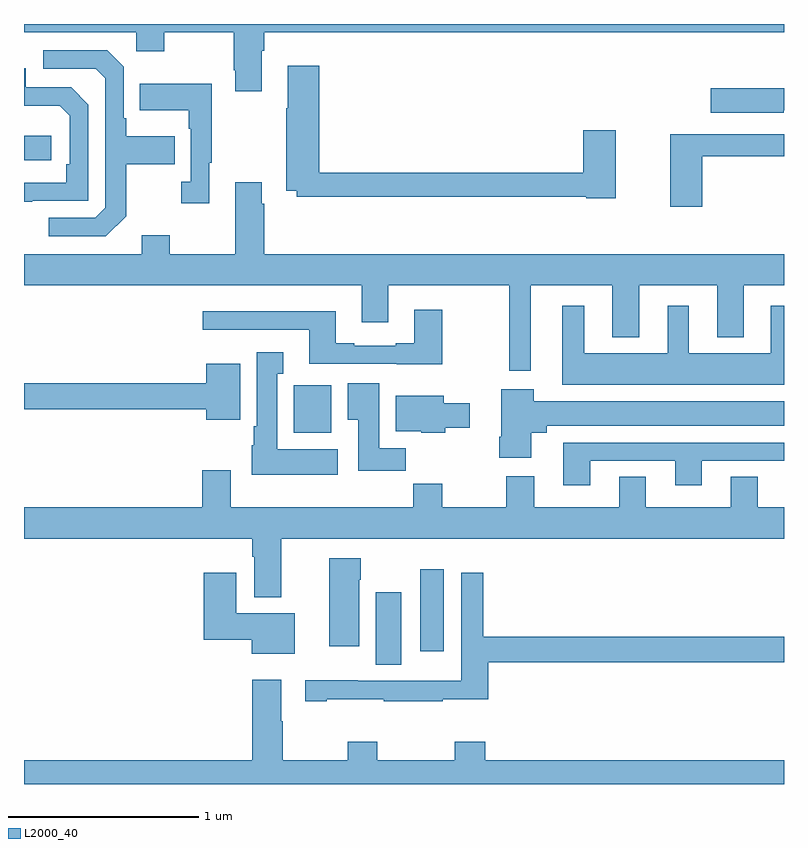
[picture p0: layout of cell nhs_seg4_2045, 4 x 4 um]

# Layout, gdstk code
import gdstk
lib = gdstk.Library(unit=1e-6, precision=1e-09)
def R(c, l, rs):  # rectangles x0, y0, x1, y1
    for r in rs: c.add(gdstk.rectangle(r[:2], r[2:], *l))
def P(c, l, *ps):  # polygons
    for p in ps: c.add(gdstk.Polygon(p, *l))
L2000_40 = (2000, 40)

nhs_seg4_2045 = lib.new_cell('nhs_seg4_2045')
R(nhs_seg4_2045, L2000_40, [(218.852,757.528,218.986,757.909), (219.086,757.599,219.208,758.029), (218.421,758.75,218.617,759), (217,760.182,217.144,760.312)])
P(nhs_seg4_2045, L2000_40, [(218.251,760.76),(218.264,760.76),(218.264,760.856),(221,760.856),(221,760.9),(217,760.9),(217,760.856),(217.59,760.856),(217.59,760.757),(217.737,760.757),(217.737,760.856),(218.104,760.856),(218.104,760.657),(218.111,760.657),(218.111,760.545),(218.251,760.545)],
  [(217.537,759.889),(217.537,760.162),(217.793,760.162),(217.793,760.309),(217.537,760.309),(217.537,760.405),(217.524,760.405),(217.524,760.674),(217.437,760.761),(217.101,760.761),(217.101,760.665),(217.377,760.665),(217.428,760.614),(217.428,759.933),(217.374,759.879),(217.131,759.879),(217.131,759.783),(217.431,759.783)],
  [(220.114,760.342),(219.944,760.342),(219.944,760.118),(218.555,760.118),(218.555,760.681),(218.387,760.681),(218.387,760.457),(218.38,760.457),(218.38,760.022),(218.436,760.022),(218.436,759.99),(219.96,759.99),(219.96,759.982),(220.114,759.982)],
  [(217.043,759.969),(217.338,759.969),(217.338,760.476),(217.248,760.566),(217.008,760.566),(217.008,760.668),(217,760.668),(217,760.469),(217.189,760.469),(217.242,760.416),(217.242,760.162),(217.222,760.162),(217.222,760.065),(217,760.065),(217,759.964),(217.043,759.964)],
  [(217.975,760.169),(217.987,760.169),(217.987,760.585),(217.609,760.585),(217.609,760.445),(217.866,760.445),(217.866,760.349),(217.878,760.349),(217.878,760.07),(217.827,760.07),(217.827,759.957),(217.975,759.957)],
  [(220.998,760.446),(221,760.446),(221,760.563),(220.614,760.563),(220.614,760.433),(220.998,760.433)],
  [(220.571,760.204),(221,760.204),(221,760.32),(220.4,760.32),(220.4,759.939),(220.571,759.939)],
  [(218.264,759.953),(218.251,759.953),(218.251,760.066),(218.111,760.066),(218.111,759.688),(217.767,759.688),(217.767,759.787),(217.619,759.787),(217.619,759.688),(217,759.688),(217,759.524),(218.777,759.524),(218.777,759.33),(218.917,759.33),(218.917,759.524),(219.553,759.524),(219.553,759.075),(219.667,759.075),(219.667,759.524),(220.097,759.524),(220.097,759.251),(220.237,759.251),(220.237,759.524),(220.649,759.524),(220.649,759.251),(220.789,759.251),(220.789,759.524),(221,759.524),(221,759.688),(218.264,759.688)],
  [(221,759.418),(220.931,759.418),(220.931,759.166),(220.498,759.166),(220.498,759.418),(220.388,759.418),(220.388,759.166),(219.949,759.166),(219.949,759.418),(219.833,759.418),(219.833,759.002),(221,759.002)],
  [(219.201,759.397),(219.053,759.397),(219.053,759.22),(218.957,759.22),(218.957,759.207),(218.737,759.207),(218.737,759.22),(218.641,759.22),(218.641,759.388),(217.941,759.388),(217.941,759.291),(218.501,759.291),(218.501,759.111),(218.961,759.111),(218.961,759.11),(219.201,759.11)],
  [(218.65,758.662),(218.332,758.662),(218.332,759.059),(218.365,759.059),(218.365,759.172),(218.225,759.172),(218.225,758.782),(218.21,758.782),(218.21,758.682),(218.198,758.682),(218.198,758.528),(218.65,758.528)],
  [(218.137,759.112),(217.958,759.112),(217.958,759.008),(217,759.008),(217,758.872),(217.958,758.872),(217.958,758.816),(218.137,758.816)],
  [(219.008,758.668),(218.869,758.668),(218.869,759.01),(218.705,759.01),(218.705,758.816),(218.759,758.816),(218.759,758.55),(219.008,758.55)],
  [(219.67,758.75),(219.751,758.75),(219.751,758.786),(221,758.786),(221,758.914),(219.683,758.914),(219.683,758.977),(219.512,758.977),(219.512,758.728),(219.5,758.728),(219.5,758.616),(219.67,758.616)],
  [(219.216,758.776),(219.346,758.776),(219.346,758.905),(219.208,758.905),(219.208,758.944),(218.957,758.944),(218.957,758.756),(219.09,758.756),(219.09,758.75),(219.216,758.75)],
  [(219.979,758.601),(220.427,758.601),(220.427,758.472),(220.567,758.472),(220.567,758.601),(221,758.601),(221,758.697),(219.839,758.697),(219.839,758.472),(219.979,758.472)],
  [(218.353,758.192),(221,758.192),(221,758.356),(220.861,758.356),(220.861,758.516),(220.721,758.516),(220.721,758.356),(220.273,758.356),(220.273,758.516),(220.133,758.516),(220.133,758.356),(219.685,758.356),(219.685,758.521),(219.538,758.521),(219.538,758.356),(219.201,758.356),(219.201,758.48),(219.049,758.48),(219.049,758.356),(218.089,758.356),(218.089,758.551),(217.937,758.551),(217.937,758.356),(217,758.356),(217,758.192),(218.201,758.192),(218.201,758.096),(218.213,758.096),(218.213,757.883),(218.353,757.883)],
  [(218.764,757.976),(218.772,757.976),(218.772,758.089),(218.606,758.089),(218.606,757.626),(218.764,757.626)],
  [(218.425,757.798),(218.116,757.798),(218.116,758.011),(217.946,758.011),(217.946,757.658),(218.198,757.658),(218.198,757.586),(218.425,757.586)],
  [(218.593,757.345),(218.893,757.345),(218.893,757.335),(219.203,757.335),(219.203,757.345),(219.443,757.345),(219.443,757.54),(221,757.54),(221,757.676),(219.416,757.676),(219.416,758.011),(219.3,758.011),(219.3,757.444),(219.09,757.444),(219.09,757.443),(218.756,757.443),(218.756,757.445),(218.481,757.445),(218.481,757.335),(218.593,757.335)],
  [(221,757.024),(219.428,757.024),(219.428,757.123),(219.268,757.123),(219.268,757.024),(218.859,757.024),(218.859,757.123),(218.704,757.123),(218.704,757.024),(218.361,757.024),(218.361,757.229),(218.353,757.229),(218.353,757.45),(218.201,757.45),(218.201,757.024),(217,757.024),(217,756.9),(221,756.9)])

lib.write_gds('nhs_seg4_2045.gds')
